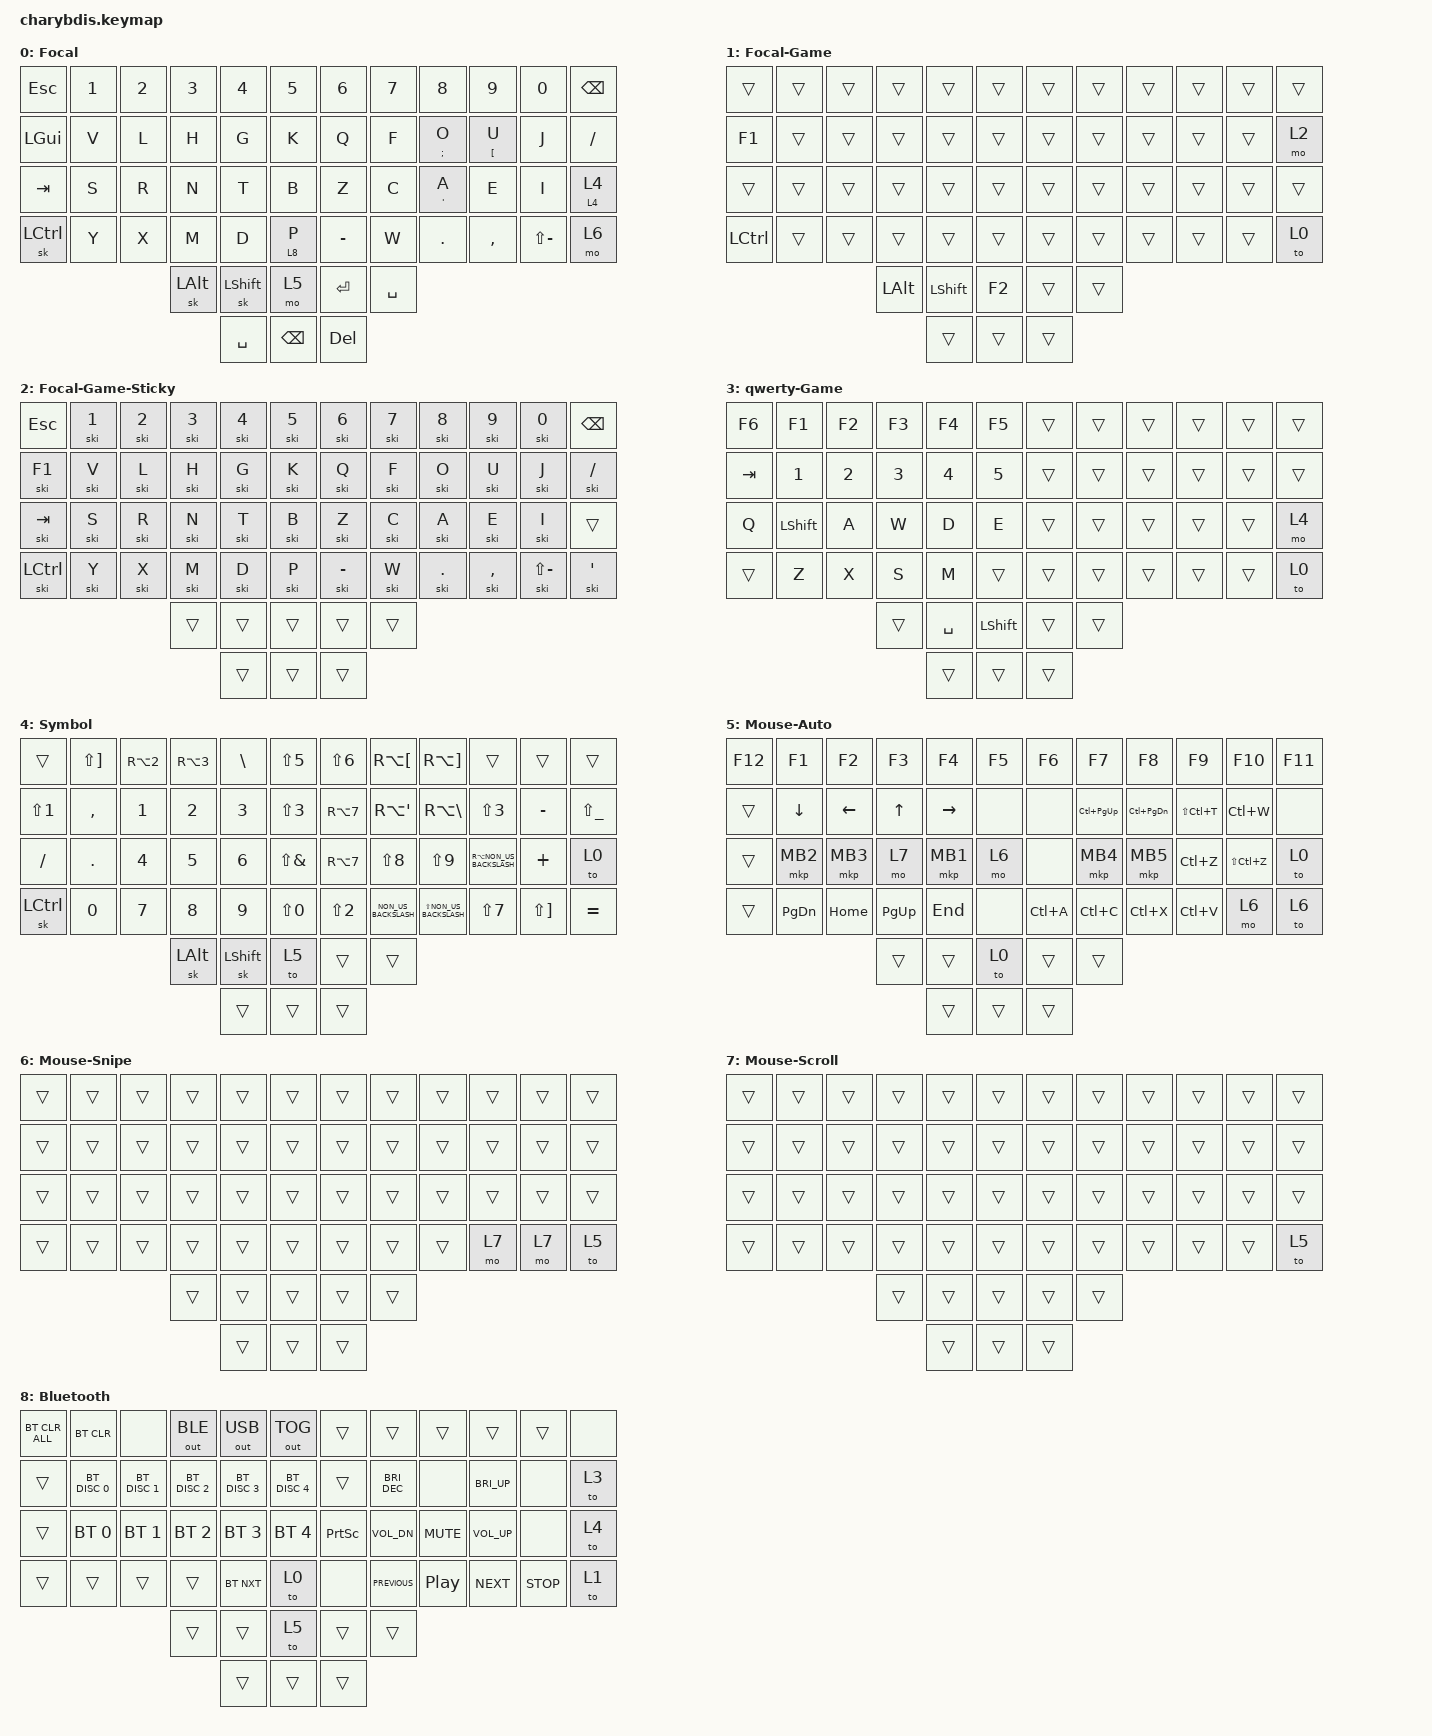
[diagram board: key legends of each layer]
#include <behaviors.dtsi>
#include <dt-bindings/zmk/bt.h>
#include <dt-bindings/zmk/keys.h>
#include <dt-bindings/zmk/outputs.h>
#include <dt-bindings/zmk/pointing.h>

&lt {
    tapping-term-ms = <200>;
    flavor = "balanced";
    quick-tap-ms = <150>;
};

/ {
    behaviors {
        thlt: tap_hold_layer_toggle {
            compatible = "zmk,behavior-hold-tap";
            label = "Tap/Hold layer toggle";
            bindings = <&mo>, <&tog>;

            #binding-cells = <2>;
            tapping-term-ms = <400>;
            hold-while-undecided;
        };

        ski: ski_behavior {
            compatible = "zmk,behavior-ski";

            // tweak for Keymap Editor
            // zmk,editor-alias = "zmk,behavior-sticky-key"; // does not seem to exist
            // compatible = "zmk,behavior-sticky-key"; // fixes Keymap Editor but breaks usage of behavior-ski

            label = "Sticky Key Infinite";

            // bindings = <&sk>; // fixes Keymap Editor
            // bindings = <>;
            // release-after-ms = <0>; // required by sticky-key, but ignored by SKI

            #binding-cells = <1>;
        };
    };

    keymap {
        compatible = "zmk,keymap";

        Focal {
            bindings = <
&kp ESC    &kp N1  &kp N2  &kp N3        &kp N4          &kp N5           &kp N6     &kp N7     &kp N8              &kp N9              &kp N0         &kp BACKSPACE
&kp LGUI   &kp V   &kp L   &kp H         &kp G           &kp K            &kp Q      &kp F      &mt SEMICOLON O     &mt LEFT_BRACKET U  &kp J          &kp SLASH
&kp TAB    &kp S   &kp R   &kp N         &kp T           &kp B            &kp Z      &kp C      &mt SINGLE_QUOTE A  &kp E               &kp I          &thlt 4 4
&sk LCTRL  &kp Y   &kp X   &kp M         &kp D           &lt 8 P          &kp MINUS  &kp W      &kp PERIOD          &kp COMMA           &kp LS(MINUS)  &mo 6
                           &sk LEFT_ALT  &sk LEFT_SHIFT  &mo 5            &kp ENTER  &kp SPACE
                                         &kp SPACE       &kp BACKSPACE    &kp DEL
            >;
        };

        Focal-Game {
            bindings = <
&trans     &trans  &trans  &trans    &trans     &trans    &trans  &trans  &trans  &trans  &trans  &trans
&kp F1     &trans  &trans  &trans    &trans     &trans    &trans  &trans  &trans  &trans  &trans  &mo 2
&trans     &trans  &trans  &trans    &trans     &trans    &trans  &trans  &trans  &trans  &trans  &trans
&kp LCTRL  &trans  &trans  &trans    &trans     &trans    &trans  &trans  &trans  &trans  &trans  &to 0
                           &kp LALT  &kp LSHFT  &kp F2    &trans  &trans
                                     &trans     &trans    &trans
            >;
        };

        Focal-Game-Sticky {
            bindings = <
&kp ESC     &ski N1  &ski N2  &ski N3  &ski N4  &ski N5    &ski N6     &ski N7  &ski N8      &ski N9     &ski N0         &kp BACKSPACE
&ski F1     &ski V   &ski L   &ski H   &ski G   &ski K     &ski Q      &ski F   &ski O       &ski U      &ski J          &ski SLASH
&ski TAB    &ski S   &ski R   &ski N   &ski T   &ski B     &ski Z      &ski C   &ski A       &ski E      &ski I          &trans
&ski LCTRL  &ski Y   &ski X   &ski M   &ski D   &ski P     &ski MINUS  &ski W   &ski PERIOD  &ski COMMA  &ski LS(MINUS)  &ski SQT
                              &trans   &trans   &trans     &trans      &trans
                                       &trans   &trans     &trans
            >;
        };

        qwerty-Game {
            bindings = <
&kp F6   &kp F1     &kp F2  &kp F3  &kp F4     &kp F5       &trans  &trans  &trans  &trans  &trans  &trans
&kp TAB  &kp N1     &kp N2  &kp N3  &kp N4     &kp N5       &trans  &trans  &trans  &trans  &trans  &trans
&kp Q    &kp LSHFT  &kp A   &kp W   &kp D      &kp E        &trans  &trans  &trans  &trans  &trans  &mo 4
&trans   &kp Z      &kp X   &kp S   &kp M      &trans       &trans  &trans  &trans  &trans  &trans  &to 0
                            &trans  &kp SPACE  &kp LSHFT    &trans  &trans
                                    &trans     &trans       &trans
            >;
        };

        Symbol {
            bindings = <
&trans            &kp LS(RIGHT_BRACKET)  &kp RA(NUMBER_2)  &kp RA(NUMBER_3)  &kp BSLH      &kp LS(N5)           &kp LS(NUMBER_6)  &kp RA(LEFT_BRACKET)  &kp RA(RIGHT_BRACKET)     &trans                    &trans                 &trans
&kp LS(NUMBER_1)  &kp COMMA              &kp NUMBER_1      &kp NUMBER_2      &kp NUMBER_3  &kp LS(NUMBER_3)     &kp RA(N7)        &kp RA(SINGLE_QUOTE)  &kp RA(BSLH)              &kp LS(NUMBER_3)          &kp MINUS              &kp LS(UNDER)
&kp SLASH         &kp PERIOD             &kp NUMBER_4      &kp NUMBER_5      &kp NUMBER_6  &kp LS(AMPERSAND)    &kp RA(NUMBER_7)  &kp LS(NUMBER_8)      &kp LS(NUMBER_9)          &kp RA(NON_US_BACKSLASH)  &kp PLUS               &to 0
&sk LCTRL         &kp NUMBER_0           &kp NUMBER_7      &kp NUMBER_8      &kp NUMBER_9  &kp LS(NUMBER_0)     &kp LS(NUMBER_2)  &kp NON_US_BACKSLASH  &kp LS(NON_US_BACKSLASH)  &kp LS(NUMBER_7)          &kp LS(RIGHT_BRACKET)  &kp EQUAL
                                                           &sk LALT          &sk LSHFT     &to 5                &trans            &trans
                                                                             &trans        &trans               &trans
            >;
        };

        Mouse-Auto {
            bindings = <
&kp F12  &kp F1          &kp F2          &kp F3        &kp F4           &kp F5    &kp F6     &kp F7         &kp F8         &kp F9         &kp F10        &kp F11
&trans   &kp DOWN_ARROW  &kp LEFT_ARROW  &kp UP_ARROW  &kp RIGHT_ARROW  &none     &none      &kp LC(PG_UP)  &kp LC(PG_DN)  &kp LS(LC(T))  &kp LC(W)      &none
&trans   &mkp MB2        &mkp MB3        &mo 7         &mkp MB1         &mo 6     &none      &mkp MB4       &mkp MB5       &kp LC(Z)      &kp LS(LC(Z))  &to 0
&trans   &kp PAGE_DOWN   &kp HOME        &kp PG_UP     &kp END          &none     &kp LC(A)  &kp LC(C)      &kp LC(X)      &kp LC(V)      &mo 6          &to 6
                                         &trans        &trans           &to 0     &trans     &trans
                                                       &trans           &trans    &trans
            >;
        };

        Mouse-Snipe {
            bindings = <
&trans  &trans  &trans  &trans  &trans  &trans    &trans  &trans  &trans  &trans  &trans  &trans
&trans  &trans  &trans  &trans  &trans  &trans    &trans  &trans  &trans  &trans  &trans  &trans
&trans  &trans  &trans  &trans  &trans  &trans    &trans  &trans  &trans  &trans  &trans  &trans
&trans  &trans  &trans  &trans  &trans  &trans    &trans  &trans  &trans  &mo 7   &mo 7   &to 5
                        &trans  &trans  &trans    &trans  &trans
                                &trans  &trans    &trans
            >;
        };

        Mouse-Scroll {
            bindings = <
&trans  &trans  &trans  &trans  &trans  &trans    &trans  &trans  &trans  &trans  &trans  &trans
&trans  &trans  &trans  &trans  &trans  &trans    &trans  &trans  &trans  &trans  &trans  &trans
&trans  &trans  &trans  &trans  &trans  &trans    &trans  &trans  &trans  &trans  &trans  &trans
&trans  &trans  &trans  &trans  &trans  &trans    &trans  &trans  &trans  &trans  &trans  &to 5
                        &trans  &trans  &trans    &trans  &trans
                                &trans  &trans    &trans
            >;
        };

        Bluetooth {
            bindings = <
&bt BT_CLR_ALL  &bt BT_CLR     &none          &out OUT_BLE   &out OUT_USB   &out OUT_TOG     &trans           &trans                &trans            &trans        &trans      &none
&trans          &bt BT_DISC 0  &bt BT_DISC 1  &bt BT_DISC 2  &bt BT_DISC 3  &bt BT_DISC 4    &trans           &kp C_BRIGHTNESS_DEC  &none             &kp C_BRI_UP  &none       &to 3
&trans          &bt BT_SEL 0   &bt BT_SEL 1   &bt BT_SEL 2   &bt BT_SEL 3   &bt BT_SEL 4     &kp PRINTSCREEN  &kp C_VOL_DN          &kp C_MUTE        &kp C_VOL_UP  &none       &to 4
&trans          &trans         &trans         &trans         &bt BT_NXT     &to 0            &none            &kp C_PREVIOUS        &kp C_PLAY_PAUSE  &kp C_NEXT    &kp C_STOP  &to 1
                                              &trans         &trans         &to 5            &trans           &trans
                                                             &trans         &trans           &trans
            >;
        };
    };
};
